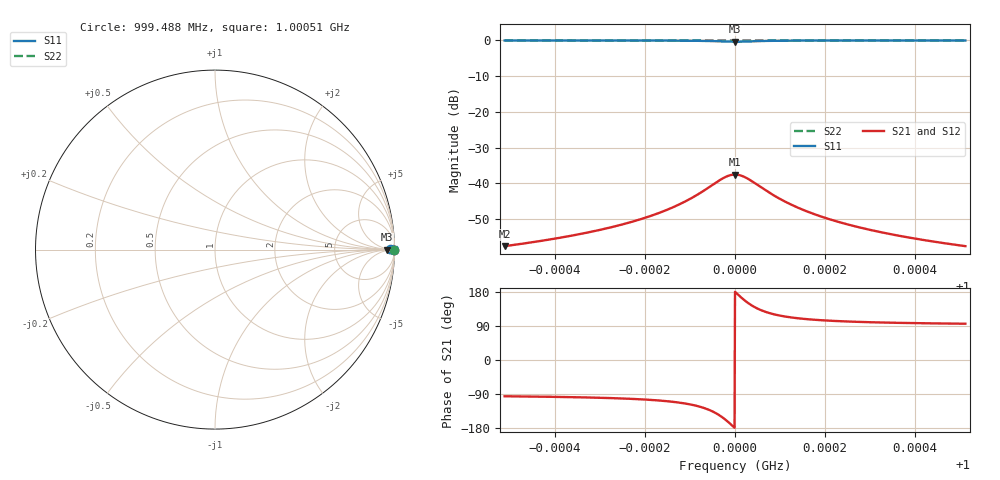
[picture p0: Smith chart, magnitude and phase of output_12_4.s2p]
! File generated for n1 = 12, n2 = 4
! b1 = 0.021544
! b2 = 0.002154
! Q0 = 10000.000000
! f0 = 1000000000.000000
! n = 1001
! rel_span = 10.000000
# Hz S RI R 50
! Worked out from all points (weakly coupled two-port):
!   1001 points, 999.488 MHz to 1.00051 GHz, reference 50 ohm
!   highest |S21| = -37.52 dB at 1 GHz (marker M1); lowest = -57.6 dB at 999.488 MHz (marker M2)
!   lowest |S11| = -0.4 dB at 1 GHz (marker M3), VSWR 46.52, Z = 2.33e+03 + j0 ohm
!   |S11| at or under -10 dB: nowhere
!   |S22| runs from 0.0 to 0.0 dB; largest |S21 - S12| = 0
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9.994882e8  0.9996 -0.00417  -0.000132 -0.00132  -0.000132 -0.00132  1 -0.000417
9.995762e8  0.9994 -0.00501  -0.000191 -0.00158  -0.000191 -0.00158  0.9999 -0.000501
9.996591e8  0.9991 -0.00618  -0.000293 -0.00195  -0.000293 -0.00195  0.9999 -0.000618
9.997533e8  0.9983 -0.00837  -0.000549 -0.00265  -0.000549 -0.00265  0.9998 -0.000837
9.997932e8  0.9976 -0.00982  -0.000768 -0.0031  -0.000768 -0.0031  0.9998 -0.000982
9.998301e8  0.9965 -0.0116  -0.00111 -0.00368  -0.00111 -0.00368  0.9996 -0.00116
9.998659e8  0.9946 -0.014  -0.00169 -0.00443  -0.00169 -0.00443  0.9995 -0.0014
9.998976e8  0.9916 -0.0168  -0.00266 -0.00532  -0.00266 -0.00532  0.9992 -0.00168
9.999222e8  0.9873 -0.0193  -0.00402 -0.00611  -0.00402 -0.00611  0.9987 -0.00193
9.999765e8  0.9653 -0.016  -0.011 -0.00505  -0.011 -0.00505  0.9965 -0.0016
9.999887e8  0.9599 -0.00883  -0.0127 -0.00279  -0.0127 -0.00279  0.996 -0.000883
1e9  0.9579 0  -0.0133 0  -0.0133 0  0.9958 0
1.000011e9  0.9599 0.00883  -0.0127 0.00279  -0.0127 0.00279  0.996 0.000883
1.000024e9  0.9653 0.016  -0.011 0.00505  -0.011 0.00505  0.9965 0.0016
1.000078e9  0.9873 0.0193  -0.00402 0.00611  -0.00402 0.00611  0.9987 0.00193
1.000102e9  0.9916 0.0168  -0.00266 0.00532  -0.00266 0.00532  0.9992 0.00168
1.000135e9  0.9947 0.0139  -0.00167 0.00441  -0.00167 0.00441  0.9995 0.00139
1.000171e9  0.9965 0.0116  -0.0011 0.00366  -0.0011 0.00366  0.9997 0.00116
1.000248e9  0.9983 0.00834  -0.000545 0.00264  -0.000545 0.00264  0.9998 0.000834
1.000342e9  0.9991 0.00616  -0.000292 0.00195  -0.000292 0.00195  0.9999 0.000616
1.000425e9  0.9994 0.005  -0.000191 0.00158  -0.000191 0.00158  0.9999 0.0005
1.000512e9  0.9996 0.00417  -0.000132 0.00132  -0.000132 0.00132  1 0.000417
